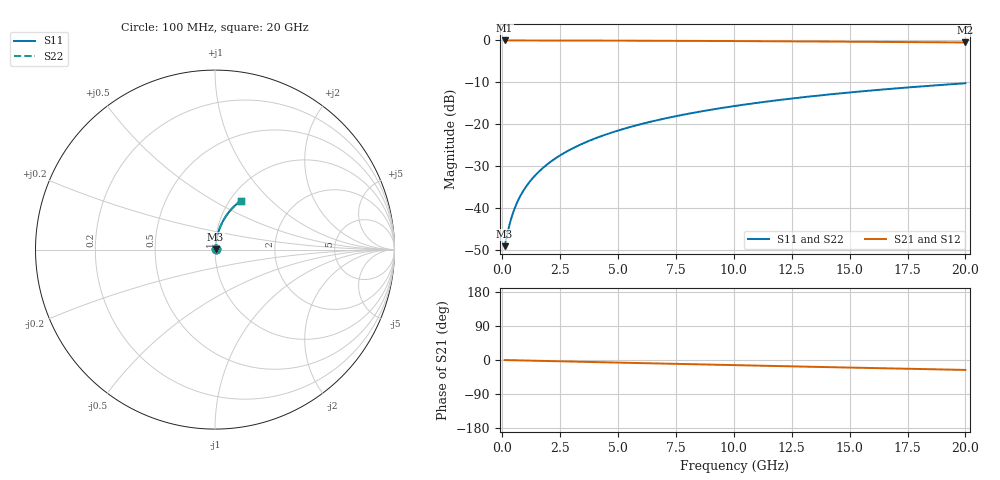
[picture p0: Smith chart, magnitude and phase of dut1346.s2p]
! Touchstone file exported from HFSS 2026.1.0
!  File:  C:/ffzhzh/LocalFiles/Ansys_Project_Files/temp_train_TMRDL_1346_1783165446_22436.aedt
!  Generated:  07:45:21 PM Jul  4, 2026
!  Design:  TMRDL
!  Project:  temp_train_TMRDL_1346_1783165446_22436
! Variables:
!  h_bsmrdl = 2um
!  h_ox = 20um
!  h_rdl = 5um
!  h_sub = 80um
!  h_tmrdl = 2.74um
!  h_tsv = 80um
!  h_via = 3um
!  l_bsmrdl = 300um
!  l_sub = 710.72um
!  l_tmrdl = 310.72um
!  m_sub = 200um
!  pitch = 45.44um
!  r_tsv = 6um
!  s_tmrdl = 10um
!  w_bsmrdl = 18um
!  w_sub = 500um
!  w_tmrdl = 14.28um
!  x_tsv_center1 = 317.86um
!  x_tsv_center2 = 635.86um
!  x_tsv_center3 = 960.86um
!  x_tsv_center4 = 1278.86um
!  x_tsv_center5 = 1603.86um
!  x_tsv_center6 = 1921.86um
# GHz S MA R 50.000000
! Terminal data exported
! Port[1] = TM_RDL1_1_T1
! Port[2] = TM_RDL1_1_T2
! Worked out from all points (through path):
!   200 points, 100 MHz to 20 GHz, reference 50 ohm
!   highest |S21| = -0.03 dB at 100 MHz (marker M1); lowest = -0.5 dB at 20 GHz (marker M2)
!   group delay of S21, straight-line fit = 3.65 ps
!   lowest |S11| = -49.1 dB at 100 MHz (marker M3), VSWR 1.01, Z = 50.3 + j0.178 ohm
!   |S11| at or under -10 dB: start of sweep to end of sweep
!   |S22| runs from -49.1 to -10.2 dB; largest |S21 - S12| = 3e-15
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0.1  0.003492 30.5  0.997 -0.1  0.997 -0.1  0.003492 30.5
! Gamma 0 0 0 0
! Port Impedance 50 0 50 0
0.3  0.006138 59.3  0.9969 -0.4  0.9969 -0.4  0.006138 59.3
0.4  0.007707 65.2  0.9968 -0.6  0.9968 -0.6  0.007707 65.2
0.5  0.009319 69.1  0.9967 -0.7  0.9967 -0.7  0.009319 69.1
0.6  0.01095 71.7  0.9967 -0.8  0.9967 -0.8  0.01095 71.7
0.8  0.01422 75.1  0.9965 -1.1  0.9965 -1.1  0.01422 75.1
1.1  0.01916 78.0  0.9963 -1.5  0.9963 -1.5  0.01916 78.0
1.3  0.02246 79.1  0.9962 -1.8  0.9962 -1.8  0.02246 79.1
1.6  0.02744 80.2  0.996 -2.2  0.996 -2.2  0.02744 80.2
2.1  0.03575 81.1  0.9957 -2.9  0.9957 -2.9  0.03575 81.1
2.7  0.04573 81.5  0.9952 -3.7  0.9952 -3.7  0.04573 81.5
3.5  0.05903 81.3  0.9943 -4.8  0.9943 -4.8  0.05904 81.3
4.2  0.07064 80.9  0.9934 -5.8  0.9934 -5.8  0.07064 80.9
5  0.08383 80.2  0.9922 -6.9  0.9922 -6.9  0.08383 80.2
5.9  0.09858 79.3  0.9906 -8.1  0.9906 -8.1  0.09858 79.3
6.8  0.1132 78.3  0.9888 -9.3  0.9888 -9.3  0.1132 78.3
8.3  0.1372 76.5  0.9853 -11.3  0.9853 -11.3  0.1372 76.5
10.1  0.1655 74.3  0.9804 -13.7  0.9804 -13.7  0.1655 74.3
11.7  0.1901 72.3  0.9755 -15.8  0.9755 -15.8  0.1901 72.3
13.4  0.2155 70.2  0.9697 -18.0  0.9697 -18.0  0.2155 70.2
16.7  0.2629 66.2  0.9572 -22.2  0.9572 -22.2  0.2629 66.2
20  0.3074 62.2  0.9433 -26.2  0.9433 -26.2  0.3074 62.2
